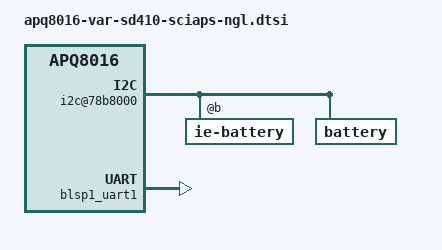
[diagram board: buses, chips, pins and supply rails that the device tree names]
/* Copyright (c) 2015, The Linux Foundation. All rights reserved.
 *
 * This program is free software; you can redistribute it and/or modify
 * it under the terms of the GNU General Public License version 2 and
 * only version 2 as published by the Free Software Foundation.
 *
 * This program is distributed in the hope that it will be useful,
 * but WITHOUT ANY WARRANTY; without even the implied warranty of
 * MERCHANTABILITY or FITNESS FOR A PARTICULAR PURPOSE.  See the
 * GNU General Public License for more details.
 */

#include "apq8016-var-sd410.dtsi"
#include "apq8016-camera-sensor-var-sd410-sciaps-ngl.dtsi"

&soc {
	i2c@78b8000 { /* BLSP1 QUP4 */
        status = "ok";

		ie-battery@b {
            sciaps,support-shutdown = <0>;
            status = "ok";
        };

		battery@0x64 {
			sciaps,support-shutdown = <0>;
			status = "ok";
		};
	};

};

&blsp1_uart1 {
	status = "ok";
};

&mdss_fb0 {
	sciaps,mdss-fb-splash-multi-image-group = <35>;
};

